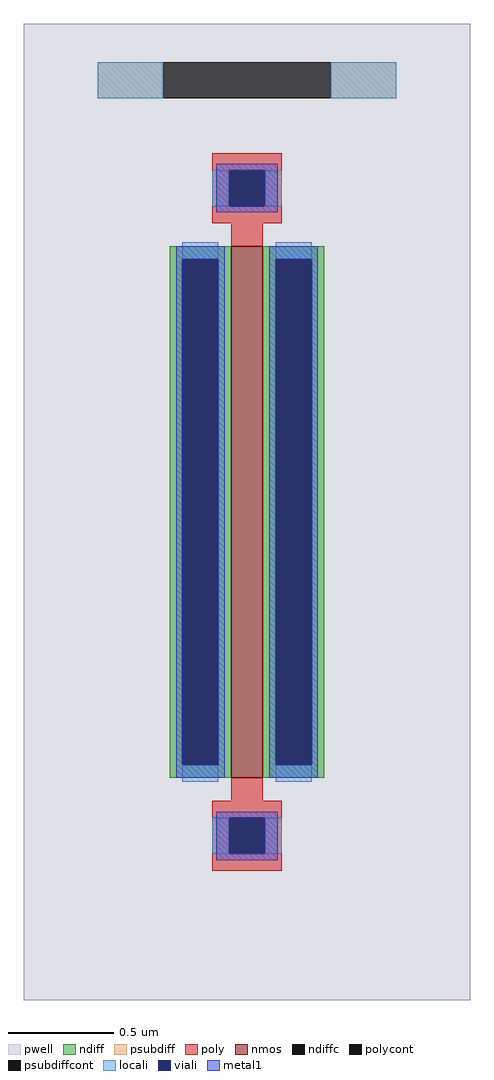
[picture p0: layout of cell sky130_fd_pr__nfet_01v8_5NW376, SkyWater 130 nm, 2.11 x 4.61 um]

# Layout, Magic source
magic
tech sky130A
magscale 1 2
<< pwell >>
rect -211 -461 211 461
<< nmos >>
rect -15 -251 15 251
<< ndiff >>
rect -73 239 -15 251
rect -73 -239 -61 239
rect -27 -239 -15 239
rect -73 -251 -15 -239
rect 15 239 73 251
rect 15 -239 27 239
rect 61 -239 73 239
rect 15 -251 73 -239
<< ndiffc >>
rect -61 -239 -27 239
rect 27 -239 61 239
<< psubdiff >>
rect -141 391 -79 425
rect 79 391 141 425
<< psubdiffcont >>
rect -79 391 79 425
<< poly >>
rect -33 323 33 339
rect -33 289 -17 323
rect 17 289 33 323
rect -33 273 33 289
rect -15 251 15 273
rect -15 -273 15 -251
rect -33 -289 33 -273
rect -33 -323 -17 -289
rect 17 -323 33 -289
rect -33 -339 33 -323
<< polycont >>
rect -17 289 17 323
rect -17 -323 17 -289
<< locali >>
rect -141 391 -79 425
rect 79 391 141 425
rect -33 289 -17 323
rect 17 289 33 323
rect -61 239 -27 255
rect -61 -255 -27 -239
rect 27 239 61 255
rect 27 -255 61 -239
rect -33 -323 -17 -289
rect 17 -323 33 -289
<< viali >>
rect -17 289 17 323
rect -61 -239 -27 239
rect 27 -239 61 239
rect -17 -323 17 -289
<< metal1 >>
rect -29 323 29 329
rect -29 289 -17 323
rect 17 289 29 323
rect -29 283 29 289
rect -67 239 -21 251
rect -67 -239 -61 239
rect -27 -239 -21 239
rect -67 -251 -21 -239
rect 21 239 67 251
rect 21 -239 27 239
rect 61 -239 67 239
rect 21 -251 67 -239
rect -29 -289 29 -283
rect -29 -323 -17 -289
rect 17 -323 29 -289
rect -29 -329 29 -323
<< properties >>
string FIXED_BBOX -158 -408 158 408
string gencell sky130_fd_pr__nfet_01v8
string library sky130
string parameters w 2.51 l 0.15 m 1 nf 1 diffcov 100 polycov 100 guard 1 glc 1 grc 1 gtc 1 gbc 1 tbcov 100 rlcov 100 topc 1 botc 1 poverlap 0 doverlap 1 lmin 0.15 wmin 0.42 compatible {sky130_fd_pr__nfet_01v8 sky130_fd_pr__nfet_01v8_lvt  sky130_fd_bs_flash__special_sonosfet_star  sky130_fd_pr__nfet_g5v0d10v5 sky130_fd_pr__nfet_05v0_nvt  sky130_fd_pr__nfet_03v3_nvt} full_metal 1 viasrc 100 viadrn 100 viagate 100 viagb 0 viagr 0 viagl 0 viagt 0
<< end >>
